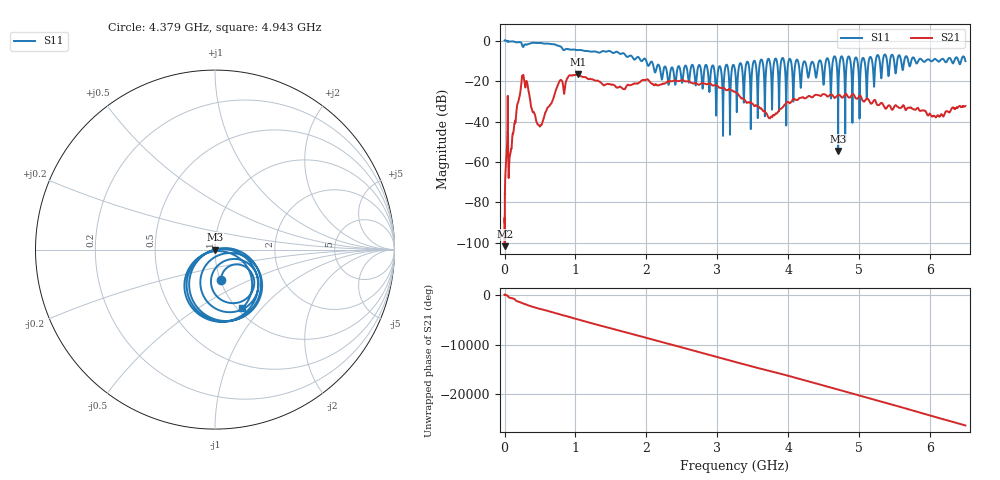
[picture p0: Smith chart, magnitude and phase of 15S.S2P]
!Keysight Technologies,E5063A,MY54503115,A.05.08
!Date: Tue Mar 05 14:46:59 2024
!Data & Calibration Information:
!Freq	S11:NONE(--)	S21:NONE(--)	S12:NONE(--)	S22:NONE(--)
# Hz S dB R 50
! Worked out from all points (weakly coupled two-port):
!   10001 points, 100 kHz to 6.5 GHz, reference 50 ohm
!   highest |S21| = -16.73 dB at 1.033 GHz (marker M1); lowest = -101.6 dB at 1.4 MHz (marker M2)
!   lowest |S11| = -54.5 dB at 4.705 GHz (marker M3), VSWR 1.00, Z = 49.8 + j0.0209 ohm
!   |S11| at or under -10 dB: 1.998 GHz to 3.519 GHz (1.521 GHz wide, 55.2 % of centre); 3.527 GHz to 3.609 GHz (81.94 MHz wide, 2.3 % of centre); 4.137 GHz to 4.439 GHz (301.7 MHz wide, 7.04 % of centre) (the widest 3 of 30)
!   S12 and S22 are empty: the file has one direction only
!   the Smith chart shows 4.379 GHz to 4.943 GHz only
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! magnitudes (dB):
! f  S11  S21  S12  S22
! 100 kHz  0.0  -89.9  -  -
! 1.4 MHz  0.0  -101.6  -  -
! 39.1 MHz  -0.2  -45.0  -  -
! 84.6 MHz  -0.5  -55.4  -  -
! 254.2 MHz  -2.8  -18.0  -  -
! 496.7 MHz  -1.2  -42.5  -  -
! 773.6 MHz  -2.7  -20.2  -  -
! 1.033 GHz  -4.7  -16.7  -  -
! 1.084 GHz  -4.7  -17.7  -  -
! 2.167 GHz  -11.9  -22.1  -  -
! 3.25 GHz  -14.5  -25.4  -  -
! 3.745 GHz  -11.2  -38.4  -  -
! 4.334 GHz  -10.6  -28.1  -  -
! 4.655 GHz  -7.8  -28.4  -  -
! 4.705 GHz  -54.5  -27.0  -  -
! 4.754 GHz  -7.8  -28.1  -  -
! 4.804 GHz  -38.3  -26.6  -  -
! 4.854 GHz  -7.8  -28.1  -  -
! 4.906 GHz  -38.5  -26.6  -  -
! 4.956 GHz  -8.4  -28.6  -  -
! 5.417 GHz  -17.5  -32.1  -  -
! 6.5 GHz  -10.2  -32.4  -  -
